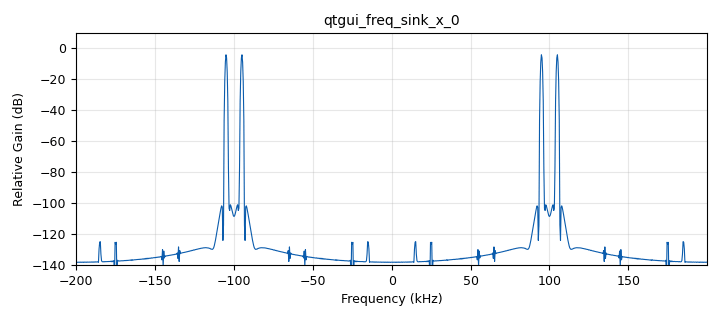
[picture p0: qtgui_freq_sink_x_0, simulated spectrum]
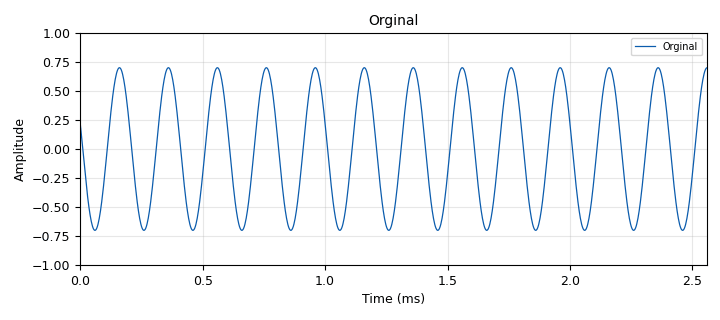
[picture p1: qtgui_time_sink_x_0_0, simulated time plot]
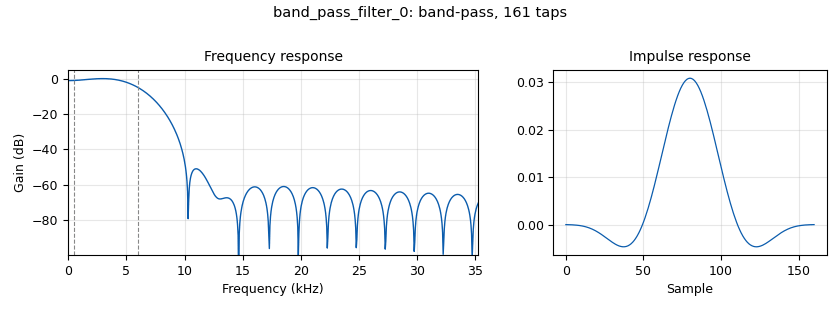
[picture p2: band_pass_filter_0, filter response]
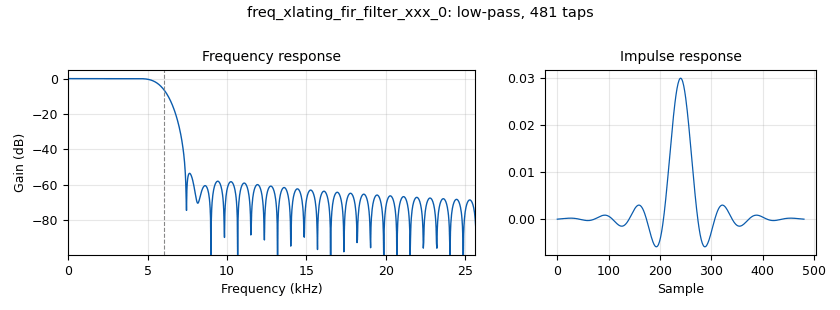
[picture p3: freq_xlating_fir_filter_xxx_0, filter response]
options:
  parameters:
    author: sara
    generate_options: qt_gui
    id: AM_Simulation_v2
    output_language: python
    title: AM_Simulation_v2
  states: {}

blocks:
- name: decim
  id: variable
  parameters:
    value: '16'
  states: {}
- name: samp_rate
  id: variable
  parameters:
    value: 400e3
  states: {}
- name: analog_const_source_x_0
  id: analog_const_source_x
  parameters:
    const: '700e-3'
    type: float
  states: {}
- name: analog_const_source_x_0_0
  id: analog_const_source_x
  parameters:
    const: '0'
    type: float
  states: {}
- name: analog_const_source_x_1
  id: analog_const_source_x
  parameters:
    const: '0'
    type: float
  states: {}
- name: analog_sig_source_x_0
  id: analog_sig_source_x
  parameters:
    amp: '1'
    freq: 5e3
    offset: '0'
    phase: '0'
    samp_rate: samp_rate
    type: float
    waveform: analog.GR_COS_WAVE
  states: {}
- name: analog_sig_source_x_0_0
  id: analog_sig_source_x
  parameters:
    amp: '10'
    freq: 100E3
    offset: '0'
    phase: '0'
    samp_rate: samp_rate
    type: float
    waveform: analog.GR_COS_WAVE
  states: {}
- name: band_pass_filter_0
  id: band_pass_filter
  parameters:
    decim: '1'
    gain: '1'
    high_cutoff_freq: 6e3
    low_cutoff_freq: '500'
    samp_rate: samp_rate
    type: fir_filter_ccf
    width: 6e3
    win: firdes.WIN_HAMMING
  states: {}
- name: blocks_add_xx_1
  id: blocks_add_xx
  parameters:
    type: float
  states: {}
- name: blocks_complex_to_real_0
  id: blocks_complex_to_real
  parameters: {}
  states: {}
- name: blocks_float_to_complex_0
  id: blocks_float_to_complex
  parameters: {}
  states: {}
- name: blocks_multiply_xx_0_0
  id: blocks_multiply_xx
  parameters:
    type: float
  states: {}
- name: blocks_multiply_xx_0_1
  id: blocks_multiply_xx
  parameters:
    type: float
  states: {}
- name: blocks_repeat_0
  id: blocks_repeat
  parameters:
    interp: '20'
    type: complex
  states: {}
- name: digital_pfb_clock_sync_xxx_0
  id: digital_pfb_clock_sync_xxx
  parameters:
    filter_size: '32'
    init_phase: '16'
    loop_bw: '62.8e-3'
    max_dev: '1.5'
    osps: '1'
    sps: '4.004'
    taps: '2'
    type: ccf
  states: {}
- name: freq_xlating_fir_filter_xxx_0
  id: freq_xlating_fir_filter_xxx
  parameters:
    center_freq: '0'
    decim: '1'
    samp_rate: samp_rate
    taps: firdes.low_pass(1,samp_rate,6e3, 2000)
    type: ccc
  states: {}
- name: qtgui_const_sink_x_0
  id: qtgui_const_sink_x
  parameters:
    size: '1024'
    type: complex
  states: {}
- name: qtgui_freq_sink_x_0
  id: qtgui_freq_sink_x
  parameters:
    bw: samp_rate
    fc: '0'
    fftsize: '1024'
    gui_hint: 1,0,1,1
    type: float
    wintype: firdes.WIN_BLACKMAN_hARRIS
  states: {}
- name: qtgui_freq_sink_x_0_0
  id: qtgui_freq_sink_x
  parameters:
    bw: samp_rate
    fc: '0'
    fftsize: '1024'
    gui_hint: 1,1,1,1
    type: complex
    wintype: firdes.WIN_BLACKMAN_hARRIS
  states: {}
- name: qtgui_time_sink_x_0_0
  id: qtgui_time_sink_x
  parameters:
    gui_hint: 0,0,1,1
    label1: Orginal
    name: '"Orginal"'
    size: '1024'
    srate: samp_rate
    type: float
  states: {}
- name: qtgui_time_sink_x_0_0_0_0
  id: qtgui_time_sink_x
  parameters:
    autoscale: 'True'
    gui_hint: 0,1,1,1
    label1: Demoduliert
    name: '"Demodul"'
    size: '1024'
    srate: samp_rate
    type: float
  states: {}
- name: rational_resampler_xxx_0
  id: rational_resampler_xxx
  parameters:
    decim: '4'
    interp: '5'
    taps: ''
    type: ccc
  states: {}
- name: uhd_usrp_sink_0
  id: uhd_usrp_sink
  parameters:
    ant0: TX/RX
    bw0: 400e3
    center_freq0: 223e6
    dev_addr: '"serial=309AF59  "'
    dev_args: '""'
    gain0: '0.5'
    len_tag_name: ''
    norm_gain0: 'True'
    samp_rate: samp_rate
    sync: sync
    type: fc32
  states: {}
- name: uhd_usrp_source_0
  id: uhd_usrp_source
  parameters:
    ant0: RX2
    bw0: 400e3
    center_freq0: 223e6
    dc_offs_enb0: '""'
    dev_addr: '"serial=309AF6A"'
    dev_args: '""'
    gain0: '0.5'
    iq_imbal_enb0: '""'
    norm_gain0: 'True'
    samp_rate: samp_rate
    sync: sync
    type: fc32
  states: {}

connections:
- [analog_const_source_x_0, '0', blocks_multiply_xx_0_0, '0']
- [analog_const_source_x_0_0, '0', blocks_add_xx_1, '1']
- [analog_const_source_x_1, '0', blocks_float_to_complex_0, '1']
- [analog_sig_source_x_0, '0', blocks_multiply_xx_0_0, '1']
- [analog_sig_source_x_0_0, '0', blocks_multiply_xx_0_1, '1']
- [band_pass_filter_0, '0', blocks_complex_to_real_0, '0']
- [band_pass_filter_0, '0', qtgui_freq_sink_x_0_0, '0']
- [blocks_add_xx_1, '0', blocks_multiply_xx_0_1, '0']
- [blocks_add_xx_1, '0', qtgui_time_sink_x_0_0, '0']
- [blocks_complex_to_real_0, '0', qtgui_time_sink_x_0_0_0_0, '0']
- [blocks_float_to_complex_0, '0', rational_resampler_xxx_0, '0']
- [blocks_multiply_xx_0_0, '0', blocks_add_xx_1, '0']
- [blocks_multiply_xx_0_1, '0', blocks_float_to_complex_0, '0']
- [blocks_multiply_xx_0_1, '0', qtgui_freq_sink_x_0, '0']
- [blocks_repeat_0, '0', uhd_usrp_sink_0, '0']
- [digital_pfb_clock_sync_xxx_0, '0', qtgui_const_sink_x_0, '0']
- [freq_xlating_fir_filter_xxx_0, '0', band_pass_filter_0, '0']
- [rational_resampler_xxx_0, '0', blocks_repeat_0, '0']
- [uhd_usrp_source_0, '0', digital_pfb_clock_sync_xxx_0, '0']
- [uhd_usrp_source_0, '0', freq_xlating_fir_filter_xxx_0, '0']

metadata:
  file_format: 1
